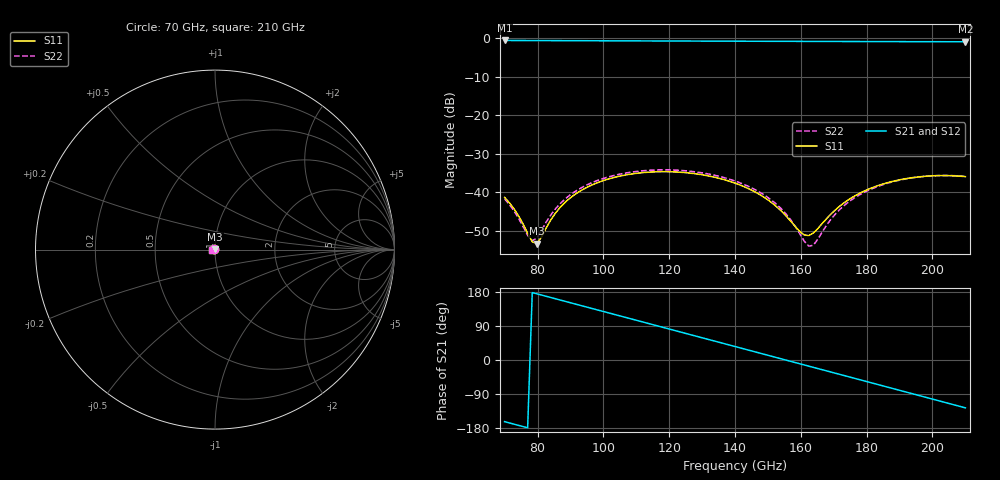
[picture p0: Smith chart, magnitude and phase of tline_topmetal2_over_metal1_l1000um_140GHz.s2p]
#  GHZ S DB R 50
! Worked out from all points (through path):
!   101 points, 70 GHz to 210 GHz, reference 50 ohm
!   highest |S21| = -0.61 dB at 70 GHz (marker M1); lowest = -1.0 dB at 210 GHz (marker M2)
!   group delay of S21, straight-line fit = 6.42 ps
!   lowest |S11| = -53.4 dB at 79.8 GHz (marker M3), VSWR 1.00, Z = 50.1 + j0.172 ohm
!   |S11| at or under -10 dB: start of sweep to end of sweep
!   |S22| runs from -54.0 to -34.2 dB; largest |S21 - S12| = 1.6e-14
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70  -41.36 165.6  -0.61 -162.7  -0.61 -162.7  -41.75 163.9
74.2  -46.10 143.1  -0.63 -172.4  -0.63 -172.4  -46.74 138.6
77  -50.69 114.4  -0.64 -178.9  -0.64 -178.9  -51.22 103.4
78.4  -52.90 87.9  -0.64 177.9  -0.64 177.9  -52.61 73.2
79.8  -53.37 53.1  -0.64 174.7  -0.64 174.7  -51.95 40.9
86.8  -44.05 -26.4  -0.67 158.5  -0.67 158.5  -43.06 -25.9
93.8  -39.31 -54.1  -0.68 142.3  -0.68 142.3  -38.64 -52.8
106.4  -35.61 -92.8  -0.72 113.2  -0.72 113.2  -35.10 -91.2
117.6  -34.70 -125.1  -0.75 87.3  -0.75 87.3  -34.22 -123.1
128.8  -35.34 -157.3  -0.78 61.5  -0.78 61.5  -34.84 -154.6
140  -37.67 169.0  -0.81 35.6  -0.81 35.6  -37.12 173.0
151.2  -42.78 128.5  -0.83 9.7  -0.83 9.7  -42.16 136.4
156.8  -47.42 95.7  -0.85 -3.2  -0.85 -3.2  -47.05 109.8
161  -51.10 47.0  -0.86 -12.9  -0.86 -12.9  -52.69 67.2
162.4  -51.29 24.8  -0.86 -16.2  -0.86 -16.2  -54.04 40.6
163.8  -50.62 3.7  -0.86 -19.4  -0.86 -19.4  -53.80 10.8
169.4  -45.48 -48.0  -0.87 -32.4  -0.87 -32.4  -46.78 -52.4
173.6  -42.49 -68.8  -0.88 -42.1  -0.88 -42.1  -43.17 -72.5
179.2  -39.75 -89.9  -0.89 -55.0  -0.89 -55.0  -40.09 -92.5
187.6  -37.27 -116.6  -0.91 -74.4  -0.91 -74.4  -37.39 -118.1
198.8  -35.83 -149.2  -0.94 -100.4  -0.94 -100.4  -35.83 -149.9
210  -35.98 178.9  -0.96 -126.3  -0.96 -126.3  -35.92 178.9
